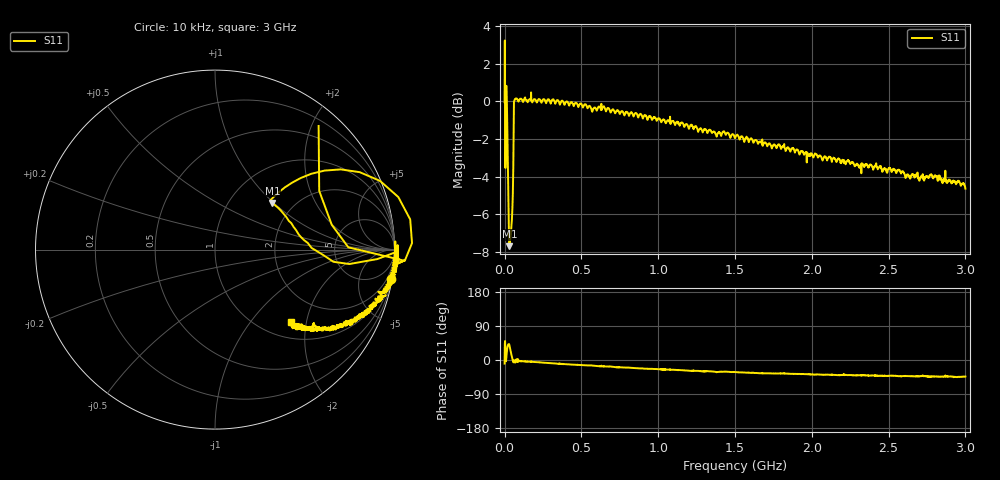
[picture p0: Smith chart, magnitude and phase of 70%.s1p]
# HZ S RI R 50
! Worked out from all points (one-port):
!   2020 points, 10 kHz to 3 GHz, reference 50 ohm
!   lowest |S11| = -7.7 dB at 31.21 MHz (marker M1), VSWR 2.40, Z = 78.2 + j49 ohm
!   |S11| at or under -10 dB: nowhere
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10000  0.9817 -0.1638
5953516  0.6505 0.1381
1.635467e7  0.8058 0.4315
1.784055e7  0.7007 0.4468
1.932643e7  0.6104 0.4403
2.378406e7  0.4284 0.3721
2.675582e7  0.3572 0.3211
3.121346e7  0.3193 0.2602
3.715698e7  0.3828 0.1986
4.310049e7  0.4381 0.1262
5.350164e7  0.5673 -0.00825
6.39028e7  1.007 -0.0348
7.133219e7  1.017 -0.00913
7.578983e7  1.018 0.0249
3.759374e8  0.9858 -0.1896
7.503789e8  0.8752 -0.3029
1.126306e9  0.7894 -0.393
1.378906e9  0.69 -0.4272
1.435369e9  0.7082 -0.4198
1.500748e9  0.6782 -0.4213
1.875189e9  0.6039 -0.4487
2.251117e9  0.5254 -0.439
2.575038e9  0.4787 -0.4402
2.625558e9  0.4679 -0.4296
2.725112e9  0.4682 -0.4162
2.771174e9  0.4599 -0.442
2.947994e9  0.4307 -0.4331
3e9  0.4242 -0.4044
